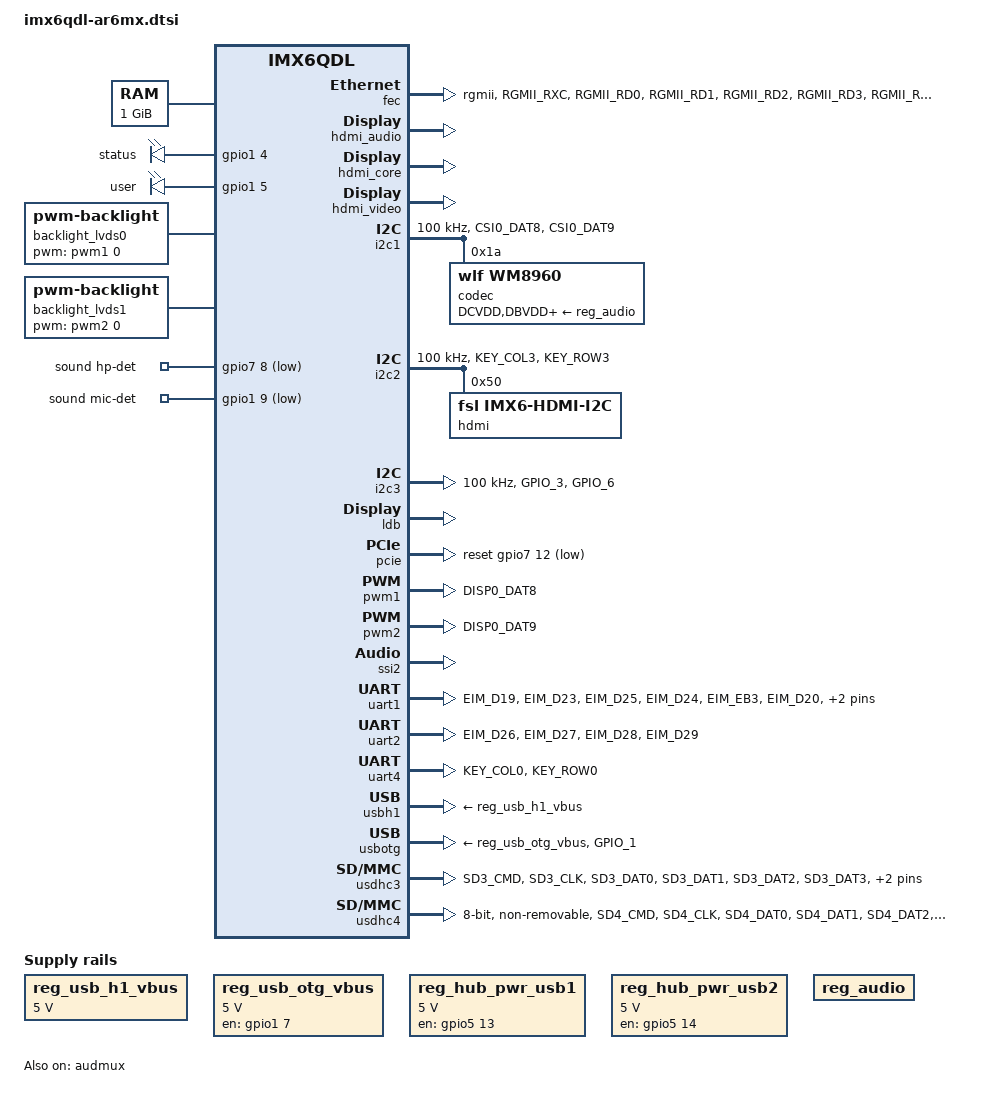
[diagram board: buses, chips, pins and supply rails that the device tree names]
/*
 *
 * Copyright (C) 2014 Jasbir Matharu
 *
 * This program is free software; you can redistribute it and/or modify
 * it under the terms of the GNU General Public License version 2 as
 * published by the Free Software Foundation.
 *
 */

/{
	aliases {
		mxcfb0 = &mxcfb1;
		mxcfb1 = &mxcfb2;
		mxcfb2 = &mxcfb3;
		mxcfb3 = &mxcfb4;

		vesa_1024x768 = &vesa_1024x768;
		fg_1024x600 = &fg_1024x600;
		vesa_1024x768_2 = &vesa_1024x768_2;
		fg_1024x600_2 = &fg_1024x600_2;
	};

	memory {
		reg = <0x10000000 0x40000000>;
	};

	regulators {
		compatible = "simple-bus";

		reg_usb_h1_vbus: usb_h1_vbus {
			compatible = "regulator-fixed";
			regulator-name = "usb_h1_vbus";
			regulator-min-microvolt = <5000000>;
			regulator-max-microvolt = <5000000>;
		};

		reg_usb_otg_vbus: usb_otg_vbus {
			compatible = "regulator-fixed";
			regulator-name = "usb_otg_vbus";
			regulator-min-microvolt = <5000000>;
			regulator-max-microvolt = <5000000>;
			gpio = <&gpio1 7 0>;
			enable-active-high;
		};

		reg_hub_pwr_usb1: hub_pwr_usb1 {
			compatible = "regulator-fixed";
			regulator-name = "hub_pwr_usb1";
			regulator-min-microvolt = <5000000>;
			regulator-max-microvolt = <5000000>;
			enable-active-high;
			regulator-always-on;
			regulator-boot-on;
			gpio = <&gpio5 13 0>;
		};

		reg_hub_pwr_usb2: hub_pwr_usb2 {
			compatible = "regulator-fixed";
			regulator-name = "hub_pwr_usb2";
			regulator-min-microvolt = <5000000>;
			regulator-max-microvolt = <5000000>;
			enable-active-high;
			regulator-always-on;
			regulator-boot-on;
			gpio = <&gpio5 14 0>;
		};

		reg_audio: wm8960_supply {
			compatible = "regulator-fixed";
			regulator-name = "wm8960-supply";
			regulator-always-on;
		};

		leds {
			compatible = "gpio-leds";

			led0: status {
				label = "status";
				gpios = <&gpio1 4 0>;
				default-state = "off";
				linux,default-trigger = "heartbeat";
			};

			led1: user {
				label = "user";
				gpios = <&gpio1 5 0>;
				default-state = "off";
			};

		};

	};

	mxcfb1: fb@0 {
		compatible = "fsl,mxc_sdc_fb";
		disp_dev = "ldb";
		interface_pix_fmt = "RGB666";
		mode_str ="LDB-XGA";
		default_bpp = <16>;
		int_clk = <0>;
		late_init = <0>;
		status = "disabled";
	};

	mxcfb2: fb@1 {
		compatible = "fsl,mxc_sdc_fb";
		disp_dev = "hdmi";
		interface_pix_fmt = "RGB24";
		mode_str ="1920x1080M@60";
		default_bpp = <24>;
		int_clk = <0>;
		late_init = <0>;
		status = "disabled";
	};

	mxcfb3: fb@2 {
		compatible = "fsl,mxc_sdc_fb";
		disp_dev = "lcd";
		interface_pix_fmt = "RGB565";
		mode_str ="CLAA-WVGA";
		default_bpp = <16>;
		int_clk = <0>;
		late_init = <0>;
		status = "disabled";
	};

	mxcfb4: fb@3 {
		compatible = "fsl,mxc_sdc_fb";
		disp_dev = "ldb";
		interface_pix_fmt = "RGB666";
		mode_str ="LDB-XGA";
		default_bpp = <16>;
		int_clk = <0>;
		late_init = <0>;
		status = "disabled";
	};

	backlight_lvds0 {
		compatible = "pwm-backlight";
		pwms = <&pwm1 0 5000000>;
		brightness-levels = <0 4 8 16 32 64 128 255>;
		default-brightness-level = <7>;
	};

	backlight_lvds1 {
		compatible = "pwm-backlight";
		pwms = <&pwm2 0 5000000>;
		brightness-levels = <0 4 8 16 32 64 128 255>;
		default-brightness-level = <7>;
	};

	sound {
		compatible = "fsl,imx6q-ar6mx-wm8960",
			   "fsl,imx-audio-wm8960";
		model = "wm8960-audio";
		ssi-controller = <&ssi2>;
		audio-codec = <&codec>;
		audio-routing =
			"Headphone Jack", "HP_L",
			"Headphone Jack", "HP_R",
			"LINPUT1", "MICB",
			"MICB", "AMIC";
		mux-int-port = <2>;
		mux-ext-port = <3>;
		hp-det-gpios = <&gpio7 8 1>;
		mic-det-gpios = <&gpio1 9 1>;
	};

	sound-hdmi {
		compatible = "fsl,imx6q-audio-hdmi",
				 "fsl,imx-audio-hdmi";
		model = "imx-audio-hdmi";
		hdmi-controller = <&hdmi_audio>;
	};

	v4l2_out {
		compatible = "fsl,mxc_v4l2_output";
		status = "okay";
	};

};

&audmux {
	pinctrl-names = "default";
	pinctrl-0 = <&pinctrl_audmux>;
	status = "okay";
};

&fec {
	pinctrl-names = "default";
	pinctrl-0 = <&pinctrl_enet>;
	phy-mode = "rgmii";
	status = "okay";
};

&hdmi_audio {
	status = "okay";
};


&hdmi_core {
	ipu_id = <0>;
	disp_id = <0>;
	status = "okay";
};


&hdmi_video {
	fsl,phy_reg_vlev = <0x0294>;
	fsl,phy_reg_cksymtx = <0x800d>;
	status = "okay";
};

&i2c1 {
	clock-frequency = <100000>;
	pinctrl-names = "default";
	pinctrl-0 = <&pinctrl_i2c1>;
	status = "okay";

	codec: wm8960@1a {
		compatible = "wlf,wm8960";
		reg = <0x1a>;
		clocks = <&clks 201>;
		DCVDD-supply = <&reg_audio>;
		DBVDD-supply = <&reg_audio>;
		AVDD-supply = <&reg_audio>;
		MICVDD-supply = <&reg_audio>;
		shared_lrclk;
       };
};

&i2c2 {
	clock-frequency = <100000>;
	pinctrl-names = "default";
	pinctrl-0 = <&pinctrl_i2c2>;
	status = "okay";

	hdmi: edid@50 {
		compatible = "fsl,imx6-hdmi-i2c";
		reg = <0x50>;
	};
};

&i2c3 {
	clock-frequency = <100000>;
	pinctrl-names = "default";
	pinctrl-0 = <&pinctrl_i2c3>;
	status = "okay";

	s35390a: s35390a@30 {
		compatible = "s35390a";
		reg = <0x30>;
        status = "disabled";
	};
};

&iomuxc {

	pinctrl-names = "default";
	pinctrl-0 = <&pinctrl_hog>;

	imx6-ar6mx {

	pinctrl_hog: hoggrp {
			fsl,pins = <
				MX6QDL_PAD_DISP0_DAT19__GPIO5_IO13  0x80000000   /* USBV1_EN   */
				MX6QDL_PAD_DISP0_DAT20__GPIO5_IO14  0x80000000   /* USBV2_EN   */
				MX6QDL_PAD_SD3_DAT5__GPIO7_IO00     0x80000000   /* SD3_CD   */
				MX6QDL_PAD_SD3_DAT4__GPIO7_IO01     0x80000000   /* SD3_WP   */
				MX6QDL_PAD_GPIO_4__GPIO1_IO04       0x80000000   /* STATUS LED */
				MX6QDL_PAD_GPIO_5__GPIO1_IO05       0x80000000   /* SATA LED */
				MX6QDL_PAD_GPIO_16__GPIO7_IO11      0x80000000   /* PCIE ENABLE */
				MX6QDL_PAD_GPIO_17__GPIO7_IO12      0x80000000   /* PCIE RST */
				MX6QDL_PAD_GPIO_7__GPIO1_IO07      0x80000000   /* OTG_PW_EN */
				MX6QDL_PAD_CSI0_MCLK__CCM_CLKO1    0x130b0
			>;
	};

		pinctrl_audmux: audmuxgrp {
			fsl,pins = <
				MX6QDL_PAD_CSI0_DAT7__AUD3_RXD		0x130b0
				MX6QDL_PAD_CSI0_DAT4__AUD3_TXC		0x130b0
				MX6QDL_PAD_CSI0_DAT5__AUD3_TXD		0x110b0
				MX6QDL_PAD_CSI0_DAT6__AUD3_TXFS		0x130b0
			>;
	};

	pinctrl_enet: enetgrp {
			fsl,pins = <
				MX6QDL_PAD_RGMII_RXC__RGMII_RXC	        0x1b0b0
				MX6QDL_PAD_RGMII_RD0__RGMII_RD0	        0x1b0b0
				MX6QDL_PAD_RGMII_RD1__RGMII_RD1	        0x1b0b0
				MX6QDL_PAD_RGMII_RD2__RGMII_RD2	        0x1b0b0
				MX6QDL_PAD_RGMII_RD3__RGMII_RD3	        0x1b0b0
				MX6QDL_PAD_RGMII_RX_CTL__RGMII_RX_CTL   0x1b0b0
				MX6QDL_PAD_RGMII_TXC__RGMII_TXC	        0x1b0b0
				MX6QDL_PAD_RGMII_TD0__RGMII_TD0	        0x1b0b0
				MX6QDL_PAD_RGMII_TD1__RGMII_TD1	        0x1b0b0
				MX6QDL_PAD_RGMII_TD2__RGMII_TD2	        0x1b0b0
				MX6QDL_PAD_RGMII_TD3__RGMII_TD3	        0x1b0b0
				MX6QDL_PAD_RGMII_TX_CTL__RGMII_TX_CTL   0x1b0b0
				MX6QDL_PAD_ENET_REF_CLK__ENET_TX_CLK	0x1b0b0
				MX6QDL_PAD_ENET_MDIO__ENET_MDIO	        0x1b0b0
				MX6QDL_PAD_ENET_MDC__ENET_MDC	        0x1b0b0
				MX6QDL_PAD_ENET_CRS_DV__GPIO1_IO25      0x80000000/* GE_nRST	*/
				MX6QDL_PAD_ENET_RXD1__GPIO1_IO26	    0x80000000/* CSI_RST_B  */
				MX6QDL_PAD_ENET_TX_EN__GPIO1_IO28       0x80000000/* PHY_INT	*/
			>;
		};

		pinctrl_i2c1: i2c1grp {
			fsl,pins = <
				MX6QDL_PAD_CSI0_DAT8__I2C1_SDA		0x4001b8b1
				MX6QDL_PAD_CSI0_DAT9__I2C1_SCL		0x4001b8b1
			>;
		};

		pinctrl_i2c2: i2c2grp {
			fsl,pins = <
				MX6QDL_PAD_KEY_COL3__I2C2_SCL		0x4001b8b1
				MX6QDL_PAD_KEY_ROW3__I2C2_SDA		0x4001b8b1
			 >;
		};

		pinctrl_i2c3: i2c3grp {
			fsl,pins = <
				MX6QDL_PAD_GPIO_3__I2C3_SCL		0x4001b8b1
				MX6QDL_PAD_GPIO_6__I2C3_SDA		0x4001b8b1
			>;
		};

		pinctrl_usbotg: usbotggrp {
			fsl,pins = <
				MX6QDL_PAD_GPIO_1__USB_OTG_ID	0x17059
			>;
		};

		pinctrl_pwm1: pwm1grp {
			fsl,pins = <
				MX6QDL_PAD_DISP0_DAT8__PWM1_OUT 0x1b0b1
			>;
		};

		pinctrl_pwm2: pwm2grp {
			fsl,pins = <
				MX6QDL_PAD_DISP0_DAT9__PWM2_OUT 0x1b0b1
			>;
		};

	pinctrl_uart1: uart1grp {
		fsl,pins = <
			MX6QDL_PAD_EIM_D19__UART1_CTS_B     0x1b0b1
			MX6QDL_PAD_EIM_D23__UART1_DCD_B     0x1b0b1
			MX6QDL_PAD_EIM_D25__UART1_DSR_B     0x1b0b1
			MX6QDL_PAD_EIM_D24__UART1_DTR_B     0x1b0b1
			MX6QDL_PAD_EIM_EB3__UART1_RI_B      0x1b0b1
			MX6QDL_PAD_EIM_D20__UART1_RTS_B     0x1b0b1
			MX6QDL_PAD_SD3_DAT6__UART1_RX_DATA  0x1b0b1
			MX6QDL_PAD_SD3_DAT7__UART1_TX_DATA  0x1b0b1
			>;
		};

	pinctrl_uart2: uart2grp {
		fsl,pins = <
			MX6QDL_PAD_EIM_D26__UART2_TX_DATA     0x1b0b1
			MX6QDL_PAD_EIM_D27__UART2_RX_DATA     0x1b0b1
			MX6QDL_PAD_EIM_D28__UART2_CTS_B     0x1b0b1
			MX6QDL_PAD_EIM_D29__UART2_RTS_B     0x1b0b1
			>;
		};

	pinctrl_uart4: uart4grp {
		fsl,pins = <
			MX6QDL_PAD_KEY_COL0__UART4_TX_DATA  0x1b0b1
			MX6QDL_PAD_KEY_ROW0__UART4_RX_DATA  0x1b0b1
			>;
		};

	pinctrl_usdhc3: usdhc3grp {
		fsl,pins = <
			MX6QDL_PAD_SD3_CMD__SD3_CMD       0x17059
			MX6QDL_PAD_SD3_CLK__SD3_CLK       0x10059
			MX6QDL_PAD_SD3_DAT0__SD3_DATA0    0x17059
			MX6QDL_PAD_SD3_DAT1__SD3_DATA1    0x17059
			MX6QDL_PAD_SD3_DAT2__SD3_DATA2    0x17059
			MX6QDL_PAD_SD3_DAT3__SD3_DATA3    0x17059
			>;
		};

		pinctrl_usdhc4: usdhc4grp {
			fsl,pins = <
				MX6QDL_PAD_SD4_CMD__SD4_CMD		0x17059
				MX6QDL_PAD_SD4_CLK__SD4_CLK		0x10059
				MX6QDL_PAD_SD4_DAT0__SD4_DATA0		0x17059
				MX6QDL_PAD_SD4_DAT1__SD4_DATA1		0x17059
				MX6QDL_PAD_SD4_DAT2__SD4_DATA2		0x17059
				MX6QDL_PAD_SD4_DAT3__SD4_DATA3		0x17059
				MX6QDL_PAD_SD4_DAT4__SD4_DATA4		0x17059
				MX6QDL_PAD_SD4_DAT5__SD4_DATA5		0x17059
				MX6QDL_PAD_SD4_DAT6__SD4_DATA6		0x17059
				MX6QDL_PAD_SD4_DAT7__SD4_DATA7		0x17059
			>;
		};
	};
};

&ldb {
	status = "okay";

	lvds-channel@0 {
		fsl,data-mapping = "spwg";
		fsl,data-width = <18>;
		primary;
		status = "okay";

		display-timings {
			fg_1024x600: FG100131DNSWAGL1 {
				clock-frequency = <50400000>;
				hactive = <1024>;
				vactive = <600>;
				hback-porch = <220>;
				hfront-porch = <40>;
				vback-porch = <5>;
				vfront-porch = <10>;
				hsync-len = <60>;
				vsync-len = <10>;
			};
			vesa_1024x768: hsd100pxn1 {
				clock-frequency = <65000000>;
				hactive = <1024>;
				vactive = <768>;
				hback-porch = <220>;
				hfront-porch = <40>;
				vback-porch = <21>;
				vfront-porch = <7>;
				hsync-len = <60>;
				vsync-len = <10>;
			};
		};
	};

	lvds-channel@1 {
		fsl,data-mapping = "spwg";
		fsl,data-width = <18>;
		status = "okay";

		display-timings {
			fg_1024x600_2: FG100131DNSWAGL1_2 {
				clock-frequency = <50400000>;
				hactive = <1024>;
				vactive = <600>;
				hback-porch = <220>;
				hfront-porch = <40>;
				vback-porch = <5>;
				vfront-porch = <10>;
				hsync-len = <60>;
				vsync-len = <10>;
			};
			vesa_1024x768_2: hsd100pxn1_2 {
				clock-frequency = <65000000>;
				hactive = <1024>;
				vactive = <768>;
				hback-porch = <220>;
				hfront-porch = <40>;
				vback-porch = <21>;
				vfront-porch = <7>;
				hsync-len = <60>;
				vsync-len = <10>;
			};
		};
	};
};

&pcie {
	reset-gpio = <&gpio7 12 GPIO_ACTIVE_LOW>;
	status = "okay";
};

&pwm1 {
	pinctrl-names = "default";
	pinctrl-0 = <&pinctrl_pwm1>;
	status = "okay";
};

&pwm2 {
	pinctrl-names = "default";
	pinctrl-0 = <&pinctrl_pwm2>;
	status = "okay";
};

&ssi2 {
	fsl,mode = "i2s-slave";
	status = "okay";
};

&uart1 {
	pinctrl-names = "default";
	pinctrl-0 = <&pinctrl_uart1>;
	fsl,uart-has-rtscts;
	status = "okay";
};

&uart2 {
	pinctrl-names = "default";
	pinctrl-0 = <&pinctrl_uart2>;
	fsl,uart-has-rtscts;
	status = "okay";
};

&uart4 {
	pinctrl-names = "default";
	pinctrl-0 = <&pinctrl_uart4>;
	status = "okay";
};

&usbh1 {
	vbus-supply = <&reg_usb_h1_vbus>;
	clock-names = "phy";
	status = "okay";
};

&usbotg {
	vbus-supply = <&reg_usb_otg_vbus>;
	pinctrl-names = "default";
	pinctrl-0 = <&pinctrl_usbotg>;
	disable-over-current;
	status = "okay";
};

&usdhc3 {
	pinctrl-names = "default";
	pinctrl-0 = <&pinctrl_usdhc3>;
	cd-gpios = <&gpio7 0 0>;
	wp-gpios = <&gpio7 1 0>;
	status = "okay";
};

&usdhc4 {
	pinctrl-names = "default";
	pinctrl-0 = <&pinctrl_usdhc4>;
	bus-width = <8>;
	non-removable;
	no-1-8-v;
	keep-power-in-suspend;
	status = "okay";
};
